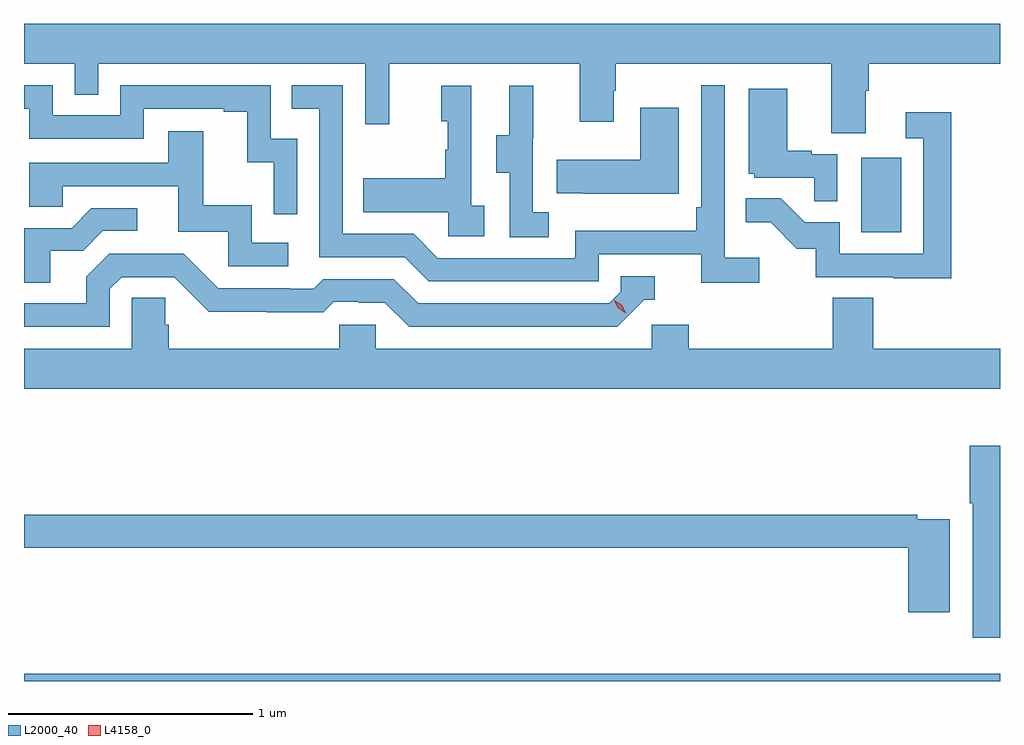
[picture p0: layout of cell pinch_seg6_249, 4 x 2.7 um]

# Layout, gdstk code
import gdstk
lib = gdstk.Library(unit=1e-6, precision=1e-09)
def R(c, l, rs):  # rectangles x0, y0, x1, y1
    for r in rs: c.add(gdstk.rectangle(r[:2], r[2:], *l))
def P(c, l, *ps):  # polygons
    for p in ps: c.add(gdstk.Polygon(p, *l))
L2000_40 = (2000, 40)
L4158_0 = (4158, 0)

pinch_seg6_249 = lib.new_cell('pinch_seg6_249')
R(pinch_seg6_249, L2000_40, [(1136.732,915.5,1140.732,915.532), (1140.164,917.34,1140.328,917.647)])
P(pinch_seg6_249, L2000_40, [(1140.181,917.92),(1140.194,917.92),(1140.194,918.032),(1140.732,918.032),(1140.732,918.196),(1136.732,918.196),(1136.732,918.032),(1136.94,918.032),(1136.94,917.905),(1137.036,917.905),(1137.036,918.032),(1138.131,918.032),(1138.131,917.784),(1138.229,917.784),(1138.229,918.032),(1139.009,918.032),(1139.009,917.793),(1139.149,917.793),(1139.149,917.921),(1139.157,917.921),(1139.157,918.032),(1140.041,918.032),(1140.041,917.746),(1140.181,917.746)],
  [(1139.746,917.236),(1139.604,917.236),(1139.604,917.944),(1139.508,917.944),(1139.508,917.443),(1139.488,917.443),(1139.488,917.347),(1138.992,917.347),(1138.992,917.235),(1138.428,917.235),(1138.329,917.334),(1138.038,917.334),(1138.038,917.943),(1137.829,917.943),(1137.829,917.847),(1137.942,917.847),(1137.942,917.238),(1138.292,917.238),(1138.391,917.139),(1139.088,917.139),(1139.088,917.25),(1139.507,917.25),(1139.507,917.134),(1139.746,917.134)],
  [(1137.852,917.724),(1137.744,917.724),(1137.744,917.943),(1137.126,917.943),(1137.126,917.82),(1136.85,917.82),(1136.85,917.943),(1136.732,917.943),(1136.732,917.847),(1136.754,917.847),(1136.754,917.724),(1137.222,917.724),(1137.222,917.847),(1137.551,917.847),(1137.551,917.835),(1137.647,917.835),(1137.647,917.627),(1137.756,917.627),(1137.756,917.415),(1137.852,917.415)],
  [(1138.618,917.45),(1138.566,917.45),(1138.566,917.941),(1138.442,917.941),(1138.442,917.796),(1138.468,917.796),(1138.468,917.678),(1138.458,917.678),(1138.458,917.563),(1138.123,917.563),(1138.123,917.423),(1138.47,917.423),(1138.47,917.325),(1138.618,917.325)],
  [(1138.882,917.423),(1138.818,917.423),(1138.818,917.727),(1138.82,917.727),(1138.82,917.941),(1138.721,917.941),(1138.721,917.739),(1138.667,917.739),(1138.667,917.584),(1138.722,917.584),(1138.722,917.32),(1138.882,917.32)],
  [(1140.066,917.661),(1139.96,917.661),(1139.96,917.674),(1139.86,917.674),(1139.86,917.929),(1139.702,917.929),(1139.702,917.58),(1139.724,917.58),(1139.724,917.565),(1139.971,917.565),(1139.971,917.467),(1140.066,917.467)],
  [(1139.416,917.851),(1139.258,917.851),(1139.258,917.638),(1138.915,917.638),(1138.915,917.501),(1139.023,917.501),(1139.023,917.498),(1139.416,917.498)],
  [(1140.533,917.833),(1140.345,917.833),(1140.345,917.727),(1140.417,917.727),(1140.417,917.253),(1140.075,917.253),(1140.075,917.382),(1139.931,917.382),(1139.833,917.48),(1139.689,917.48),(1139.689,917.381),(1139.793,917.381),(1139.9,917.274),(1139.977,917.274),(1139.977,917.157),(1140.295,917.157),(1140.295,917.152),(1140.533,917.152)],
  [(1137.814,917.298),(1137.666,917.298),(1137.666,917.452),(1137.467,917.452),(1137.467,917.755),(1137.323,917.755),(1137.323,917.625),(1136.754,917.625),(1136.754,917.445),(1136.891,917.445),(1136.891,917.529),(1137.365,917.529),(1137.365,917.343),(1137.57,917.343),(1137.57,917.202),(1137.814,917.202)],
  [(1136.839,917.266),(1136.974,917.266),(1137.054,917.346),(1137.196,917.346),(1137.196,917.439),(1137.008,917.439),(1136.927,917.358),(1136.732,917.358),(1136.732,917.134),(1136.839,917.134)],
  [(1137.084,917.109),(1137.132,917.157),(1137.348,917.157),(1137.49,917.015),(1137.726,917.015),(1137.726,917.013),(1137.959,917.013),(1138.001,917.055),(1138.104,917.055),(1138.104,917.052),(1138.211,917.052),(1138.31,916.953),(1139.163,916.953),(1139.274,917.064),(1139.317,917.064),(1139.317,917.16),(1139.178,917.16),(1139.178,917.097),(1139.13,917.049),(1138.347,917.049),(1138.248,917.148),(1137.959,917.148),(1137.92,917.109),(1137.821,917.109),(1137.821,917.112),(1137.528,917.112),(1137.387,917.253),(1137.081,917.253),(1136.987,917.159),(1136.987,917.049),(1136.732,917.049),(1136.732,916.953),(1137.084,916.953)],
  [(1140.732,916.864),(1140.212,916.864),(1140.212,917.072),(1140.047,917.072),(1140.047,916.864),(1139.456,916.864),(1139.456,916.962),(1139.304,916.962),(1139.304,916.864),(1138.173,916.864),(1138.173,916.962),(1138.023,916.962),(1138.023,916.864),(1137.326,916.864),(1137.326,916.962),(1137.311,916.962),(1137.311,917.072),(1137.174,917.072),(1137.174,916.864),(1136.732,916.864),(1136.732,916.7),(1140.732,916.7)],
  [(1140.732,916.465),(1140.608,916.465),(1140.608,916.231),(1140.62,916.231),(1140.62,915.678),(1140.732,915.678)],
  [(1140.526,916.164),(1140.392,916.164),(1140.392,916.184),(1136.732,916.184),(1136.732,916.048),(1140.356,916.048),(1140.356,915.783),(1140.526,915.783)])
P(pinch_seg6_249, L4158_0, [(1139.199,917.009),(1139.168,917.029),(1139.152,917.061),(1139.152,917.062),(1139.152,917.062),(1139.183,917.042),(1139.199,917.009),(1139.199,917.009)])

lib.write_gds('pinch_seg6_249.gds')
